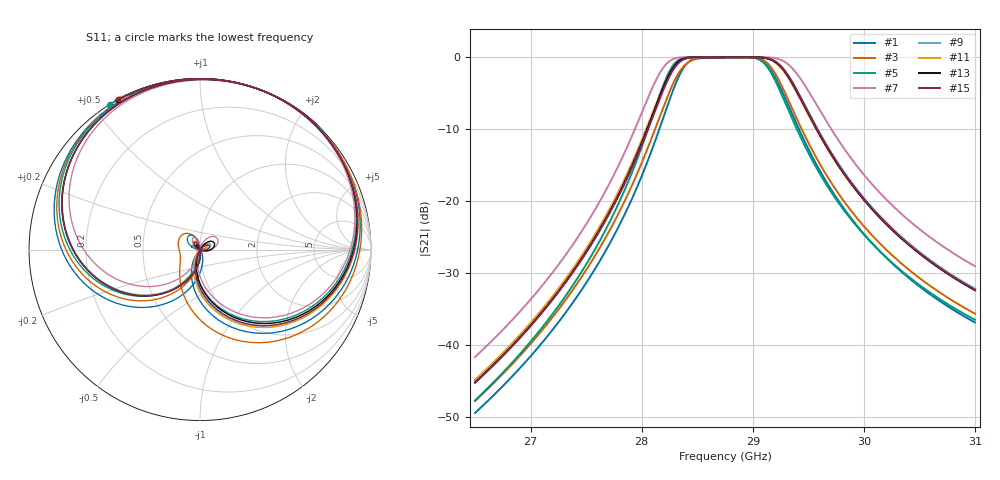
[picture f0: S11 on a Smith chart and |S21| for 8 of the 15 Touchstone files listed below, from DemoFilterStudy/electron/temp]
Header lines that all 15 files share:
! Touchstone file from project Ka_PF
! Exported from HFSS 15.0.0
! Variables:
!Data is not renormalized
# GHZ S DB
! Modal data exported
! Port[1] = 1:1
! Port[2] = 2:1
Fixed: AA = 0.34in, BB = 0.145in, PL = 0.3in, RR = 0.035in, TT = 0.04in
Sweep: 26.5 GHz to 31 GHz
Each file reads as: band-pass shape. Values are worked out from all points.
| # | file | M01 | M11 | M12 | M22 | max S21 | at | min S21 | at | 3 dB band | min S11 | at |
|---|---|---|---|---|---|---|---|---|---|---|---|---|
| 1 | s0.s2p | 0.1632in | 0.2159in | 0.106in | 0.2395in | 0.00 dB | 28.92 GHz | -49.4 dB | 26.5 GHz | 28.33 GHz-29.21 GHz | -47.9 dB | 28.92 GHz |
| 2 | s1.s2p | 0.1638in | 0.2166in | 0.1073in | 0.2395in | 0.00 dB | 28.92 GHz | -47.5 dB | 26.5 GHz | 28.24 GHz-29.16 GHz | -44.8 dB | 28.92 GHz |
| 3 | s2.s2p | 0.1649in | 0.2151in | 0.1073in | 0.2385in | 0.00 dB | 28.98 GHz | -47.7 dB | 26.5 GHz | 28.31 GHz-29.23 GHz | -51.1 dB | 28.98 GHz |
| 4 | s3.s2p | 0.1627in | 0.2153in | 0.1023in | 0.2389in | 0.00 dB | 29.07 GHz | -53.1 dB | 26.5 GHz | 28.54 GHz-29.3 GHz | -50.1 dB | 29.07 GHz |
| 5 | s4.s2p | 0.1623in | 0.2167in | 0.1081in | 0.2391in | 0.00 dB | 28.96 GHz | -47.7 dB | 26.5 GHz | 28.22 GHz-29.19 GHz | -58.7 dB | 28.96 GHz |
| 6 | s5.s2p | 0.164in | 0.2124in | 0.1158in | 0.2339in | 0.00 dB | 28.76 GHz | -42.9 dB | 26.5 GHz | 28.12 GHz-29.43 GHz | -54.0 dB | 28.76 GHz |
| 7 | s6.s2p | 0.1679in | 0.2102in | 0.116in | 0.2336in | 0.00 dB | 29.1 GHz | -41.6 dB | 26.5 GHz | 28.14 GHz-29.43 GHz | -55.8 dB | 29.1 GHz |
| 8 | s7.s2p | 0.1677in | 0.2119in | 0.1109in | 0.2365in | 0.00 dB | 28.63 GHz | -44.8 dB | 26.5 GHz | 28.25 GHz-29.3 GHz | -55.7 dB | 28.63 GHz |
| 9 | s8.s2p | 0.166in | 0.2125in | 0.1117in | 0.2361in | 0.00 dB | 28.77 GHz | -44.9 dB | 26.5 GHz | 28.24 GHz-29.34 GHz | -58.3 dB | 28.77 GHz |
| 10 | s9.s2p | 0.1662in | 0.2126in | 0.1115in | 0.2363in | 0.00 dB | 29 GHz | -44.8 dB | 26.5 GHz | 28.23 GHz-29.32 GHz | -54.0 dB | 29 GHz |
| 11 | s10.s2p | 0.1661in | 0.2126in | 0.1115in | 0.2362in | 0.00 dB | 28.5 GHz | -44.8 dB | 26.5 GHz | 28.23 GHz-29.32 GHz | -55.2 dB | 28.5 GHz |
| 12 | s11.s2p | 0.166in | 0.2126in | 0.1117in | 0.2362in | 0.00 dB | 28.74 GHz | -44.7 dB | 26.5 GHz | 28.22 GHz-29.33 GHz | -51.4 dB | 28.74 GHz |
| 13 | s12.s2p | 0.1656in | 0.2127in | 0.1115in | 0.2363in | 0.00 dB | 28.8 GHz | -45.2 dB | 26.5 GHz | 28.24 GHz-29.33 GHz | -54.0 dB | 28.8 GHz |
| 14 | s13.s2p | 0.166in | 0.2126in | 0.1115in | 0.2362in | 0.00 dB | 29.01 GHz | -44.8 dB | 26.5 GHz | 28.23 GHz-29.32 GHz | -52.9 dB | 29.01 GHz |
| 15 | s14.s2p | 0.1659in | 0.2126in | 0.1115in | 0.2362in | 0.00 dB | 28.76 GHz | -45.2 dB | 26.5 GHz | 28.25 GHz-29.34 GHz | -51.7 dB | 28.76 GHz |
